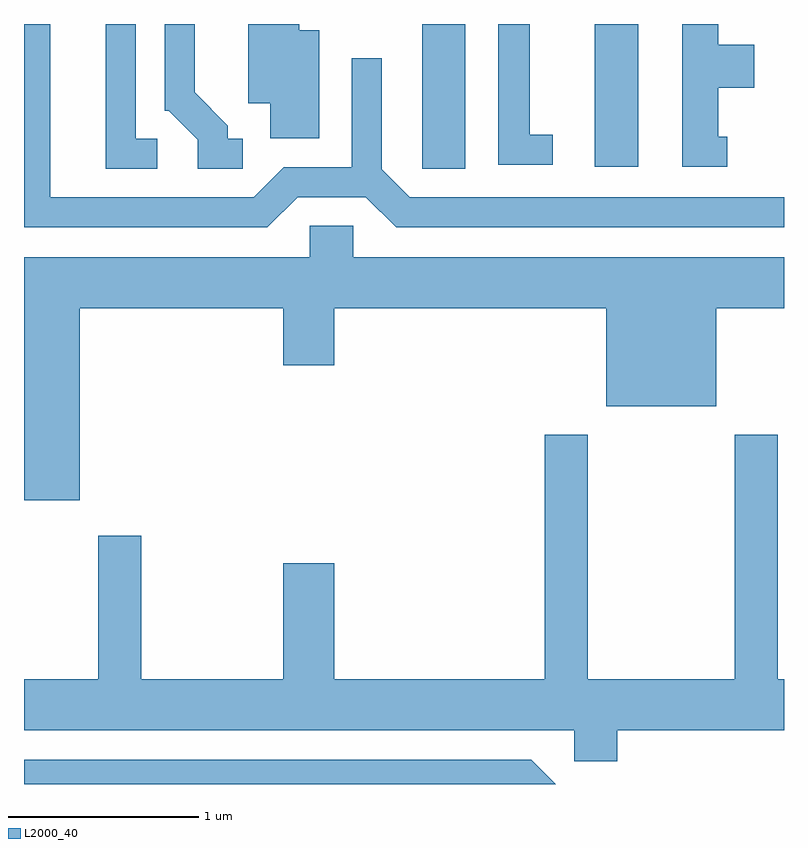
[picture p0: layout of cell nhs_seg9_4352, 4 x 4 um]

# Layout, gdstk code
import gdstk
lib = gdstk.Library(unit=1e-6, precision=1e-09)
def R(c, l, rs):  # rectangles x0, y0, x1, y1
    for r in rs: c.add(gdstk.rectangle(r[:2], r[2:], *l))
def P(c, l, *ps):  # polygons
    for p in ps: c.add(gdstk.Polygon(p, *l))
L2000_40 = (2000, 40)

nhs_seg9_4352 = lib.new_cell('nhs_seg9_4352')
R(nhs_seg9_4352, L2000_40, [(315.706,1983.671,315.934,1984.432), (316.616,1983.681,316.844,1984.432)])
P(nhs_seg9_4352, L2000_40, [(315.164,1984.399),(315.059,1984.399),(315.059,1984.432),(314.791,1984.432),(314.791,1984.016),(314.906,1984.016),(314.906,1983.831),(315.164,1983.831)],
  [(317.313,1983.839),(317.264,1983.839),(317.264,1984.096),(317.454,1984.096),(317.454,1984.324),(317.264,1984.324),(317.264,1984.432),(317.076,1984.432),(317.076,1983.681),(317.313,1983.681)],
  [(314.313,1983.829),(314.199,1983.829),(314.199,1984.432),(314.041,1984.432),(314.041,1983.671),(314.313,1983.671)],
  [(315.052,1983.521),(315.409,1983.521),(315.569,1983.361),(317.611,1983.361),(317.611,1983.519),(315.642,1983.519),(315.494,1983.667),(315.494,1984.253),(315.336,1984.253),(315.336,1983.679),(314.979,1983.679),(314.819,1983.519),(313.749,1983.519),(313.749,1984.432),(313.611,1984.432),(313.611,1983.361),(314.892,1983.361)],
  [(314.763,1983.829),(314.684,1983.829),(314.684,1983.897),(314.509,1984.072),(314.509,1984.432),(314.351,1984.432),(314.351,1983.976),(314.374,1983.976),(314.526,1983.824),(314.526,1983.671),(314.763,1983.671)],
  [(316.393,1983.849),(316.274,1983.849),(316.274,1984.432),(316.106,1984.432),(316.106,1983.691),(316.393,1983.691)],
  [(313.904,1982.936),(314.976,1982.936),(314.976,1982.636),(315.244,1982.636),(315.244,1982.936),(316.676,1982.936),(316.676,1982.421),(317.254,1982.421),(317.254,1982.936),(317.611,1982.936),(317.611,1983.204),(315.344,1983.204),(315.344,1983.369),(315.116,1983.369),(315.116,1983.204),(313.611,1983.204),(313.611,1981.926),(313.904,1981.926)],
  [(316.734,1980.716),(317.611,1980.716),(317.611,1980.984),(317.579,1980.984),(317.579,1982.269),(317.351,1982.269),(317.351,1980.984),(316.579,1980.984),(316.579,1982.269),(316.351,1982.269),(316.351,1980.984),(315.244,1980.984),(315.244,1981.594),(314.976,1981.594),(314.976,1980.984),(314.229,1980.984),(314.229,1981.739),(314.001,1981.739),(314.001,1980.984),(313.611,1980.984),(313.611,1980.716),(316.506,1980.716),(316.506,1980.551),(316.734,1980.551)],
  [(316.282,1980.559),(313.611,1980.559),(313.611,1980.432),(316.409,1980.432)])

lib.write_gds('nhs_seg9_4352.gds')
